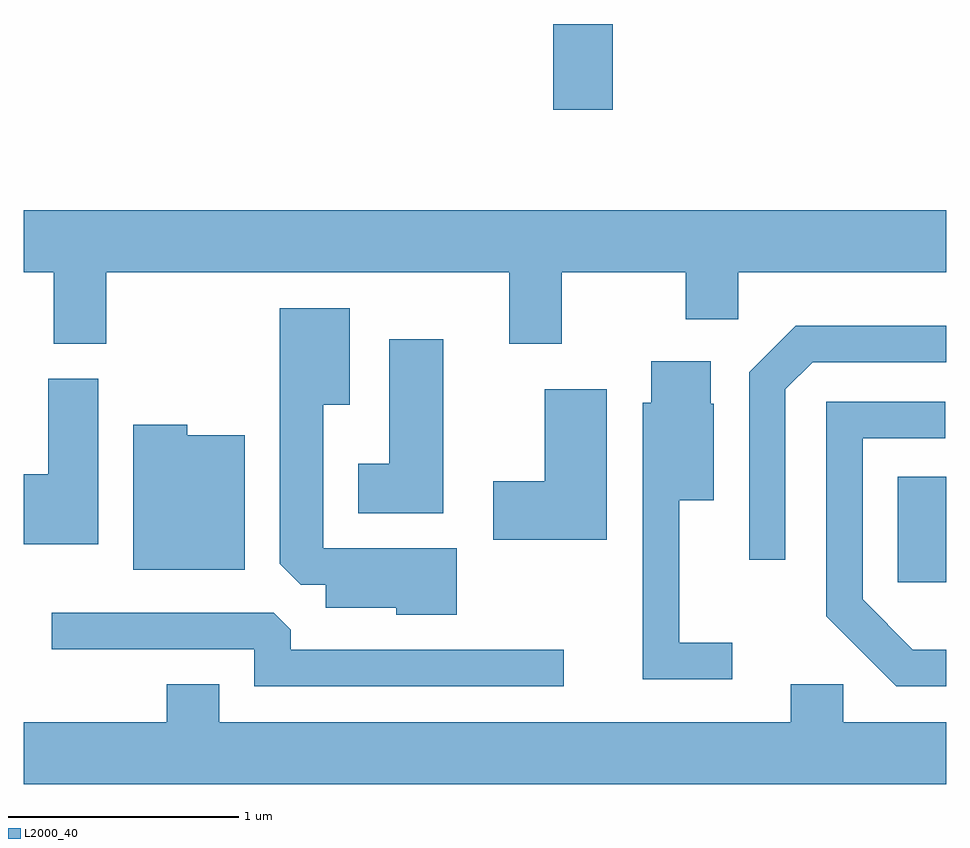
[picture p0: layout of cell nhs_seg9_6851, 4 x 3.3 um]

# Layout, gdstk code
import gdstk
lib = gdstk.Library(unit=1e-6, precision=1e-09)
def R(c, l, rs):  # rectangles x0, y0, x1, y1
    for r in rs: c.add(gdstk.rectangle(r[:2], r[2:], *l))
def P(c, l, *ps):  # polygons
    for p in ps: c.add(gdstk.Polygon(p, *l))
L2000_40 = (2000, 40)

nhs_seg9_6851 = lib.new_cell('nhs_seg9_6851')
R(nhs_seg9_6851, L2000_40, [(391.401,2006.011,391.611,2006.469), (389.906,2008.061,390.164,2008.432)])
P(nhs_seg9_6851, L2000_40, [(387.969,2007.356),(389.716,2007.356),(389.716,2007.046),(389.944,2007.046),(389.944,2007.356),(390.481,2007.356),(390.481,2007.151),(390.709,2007.151),(390.709,2007.356),(391.611,2007.356),(391.611,2007.624),(387.611,2007.624),(387.611,2007.356),(387.741,2007.356),(387.741,2007.046),(387.969,2007.046)],
  [(389.489,2006.159),(388.909,2006.159),(388.909,2006.781),(389.024,2006.781),(389.024,2007.199),(388.721,2007.199),(388.721,2006.092),(388.812,2006.001),(388.921,2006.001),(388.921,2005.901),(389.226,2005.901),(389.226,2005.871),(389.489,2005.871)],
  [(390.914,2006.849),(391.032,2006.966),(391.611,2006.966),(391.611,2007.124),(390.959,2007.124),(390.756,2006.922),(390.756,2006.108),(390.914,2006.108)],
  [(389.429,2007.064),(389.196,2007.064),(389.196,2006.524),(389.061,2006.524),(389.061,2006.311),(389.429,2006.311)],
  [(390.683,2005.749),(390.454,2005.749),(390.454,2006.366),(390.604,2006.366),(390.604,2006.785),(390.589,2006.785),(390.589,2006.969),(390.331,2006.969),(390.331,2006.789),(390.296,2006.789),(390.296,2005.591),(390.683,2005.591)],
  [(387.934,2006.894),(387.716,2006.894),(387.716,2006.479),(387.611,2006.479),(387.611,2006.176),(387.934,2006.176)],
  [(390.139,2006.849),(389.871,2006.849),(389.871,2006.449),(389.646,2006.449),(389.646,2006.196),(390.139,2006.196)],
  [(391.611,2005.719),(391.467,2005.719),(391.249,2005.937),(391.249,2006.636),(391.608,2006.636),(391.608,2006.794),(391.091,2006.794),(391.091,2005.864),(391.394,2005.561),(391.611,2005.561)],
  [(388.569,2006.649),(388.319,2006.649),(388.319,2006.694),(388.086,2006.694),(388.086,2006.066),(388.569,2006.066)],
  [(389.953,2005.719),(388.769,2005.719),(388.769,2005.804),(388.694,2005.879),(387.733,2005.879),(387.733,2005.721),(388.611,2005.721),(388.611,2005.561),(389.953,2005.561)],
  [(391.611,2005.404),(391.164,2005.404),(391.164,2005.569),(390.936,2005.569),(390.936,2005.404),(388.459,2005.404),(388.459,2005.569),(388.231,2005.569),(388.231,2005.404),(387.611,2005.404),(387.611,2005.136),(391.611,2005.136)])

lib.write_gds('nhs_seg9_6851.gds')
